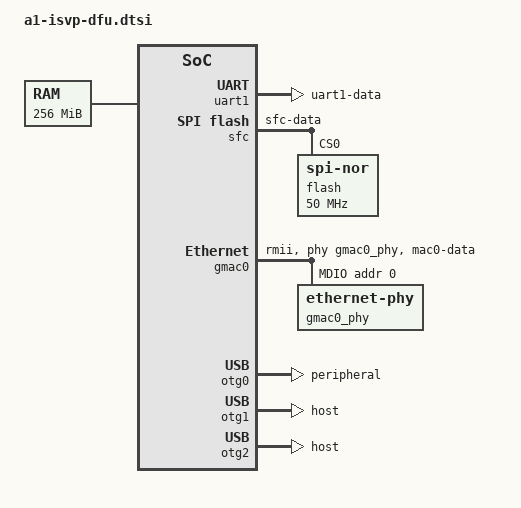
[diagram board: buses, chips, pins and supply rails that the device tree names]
// SPDX-License-Identifier: GPL-2.0+
/*
 * Ingenic ISVP-A1 USB-boot DFU-loader board body, shared by every A1
 * SKU. Identical to a1-isvp.dtsi except OTG0 is dr_mode = "peripheral"
 * so the dwc2_udc_otg gadget binds to it (dwc2_udc_otg_bind rejects
 * "host"). OTG0 is the mask-ROM USB-boot port, so the DFU gadget comes
 * up on the same connector the loader is USB-booted over. The leaf
 * .dts sets the per-SKU compatible on &ddr.
 */

#include <dt-bindings/clock/ingenic,a1-cgu.h>

/ {
	compatible = "ingenic,a1";
	#address-cells = <1>;
	#size-cells = <1>;

	aliases {
		serial1 = &uart1;
	};

	chosen {
		stdout-path = "serial1:115200n8";
	};

	memory@0 {
		device_type = "memory";
		reg = <0x0 0x10000000>;
	};

	ddr: memory-controller@b34f0000 {
		reg = <0xb34f0000 0x3000>;
		/* compatible is set by the per-SKU leaf .dts. */
		bootph-all;
	};

	cgu: clock-controller@b0000000 {
		compatible = "ingenic,a1-cgu";
		reg = <0xb0000000 0x1000>;
		#clock-cells = <1>;
		bootph-all;
	};

	pinctrl: pinctrl@b0010000 {
		compatible = "ingenic,a1-pinctrl";
		reg = <0xb0010000 0x8000>;
		#address-cells = <1>;
		#size-cells = <0>;
		bootph-all;

		gpa: gpio@0 {
			compatible = "ingenic,a1-gpio";
			reg = <0>;
			gpio-controller;
			#gpio-cells = <2>;
			bootph-all;
		};

		gpb: gpio@1 {
			compatible = "ingenic,a1-gpio";
			reg = <1>;
			gpio-controller;
			#gpio-cells = <2>;
			bootph-all;
		};

		gpc: gpio@2 {
			compatible = "ingenic,a1-gpio";
			reg = <2>;
			gpio-controller;
			#gpio-cells = <2>;
			bootph-all;
		};

		gpd: gpio@3 {
			compatible = "ingenic,a1-gpio";
			reg = <3>;
			gpio-controller;
			#gpio-cells = <2>;
			bootph-all;
		};

		gpe: gpio@4 {
			compatible = "ingenic,a1-gpio";
			reg = <4>;
			gpio-controller;
			#gpio-cells = <2>;
			bootph-all;
		};

		pins_uart1: uart1 {
			function = "uart1";
			groups = "uart1-data";
			bootph-all;
		};

		pins_sfc: sfc {
			function = "sfc";
			groups = "sfc-data";
		};

		pins_mac0: mac0 {
			function = "mac0";
			groups = "mac0-data";
		};
	};

	uart1: serial@b0031000 {
		compatible = "ingenic,jz4780-uart", "ns16550a";
		reg = <0xb0031000 0x100>;
		reg-shift = <2>;
		clock-frequency = <24000000>;
		pinctrl-names = "default";
		pinctrl-0 = <&pins_uart1>;
		status = "okay";
		bootph-all;
	};

	sfc: spi@b3440000 {
		compatible = "ingenic,a1-sfc";
		reg = <0xb3440000 0x10000>;
		#address-cells = <1>;
		#size-cells = <0>;
		clocks = <&cgu A1_CLK_SFC>;
		pinctrl-names = "default";
		pinctrl-0 = <&pins_sfc>;
		spi-max-frequency = <50000000>;
		status = "okay";

		flash@0 {
			compatible = "jedec,spi-nor";
			reg = <0>;
			spi-max-frequency = <50000000>;
		};
	};

	gmac0: ethernet@b30b0000 {
		compatible = "ingenic,a1-gmac";
		reg = <0xb30b0000 0x10000>;
		clocks = <&cgu A1_CLK_GMAC0>;
		phy-mode = "rmii";
		phy-handle = <&gmac0_phy>;
		ingenic,mode-reg = <0xb00000c8>;
		max-speed = <100>;
		pinctrl-names = "default";
		pinctrl-0 = <&pins_mac0>;
		status = "okay";

		mdio {
			#address-cells = <1>;
			#size-cells = <0>;

			gmac0_phy: ethernet-phy@0 {
				reg = <0>;
			};
		};
	};

	otg0: usb@b3600000 {
		compatible = "snps,dwc2";
		reg = <0xb3600000 0x40000>;
		clocks = <&cgu A1_CLK_OTG0>;
		dr_mode = "peripheral";		/* gadget bind for DFU/g_dnl */
		status = "okay";
	};

	otg1: usb@b3640000 {
		compatible = "snps,dwc2";
		reg = <0xb3640000 0x40000>;
		clocks = <&cgu A1_CLK_OTG1>;
		dr_mode = "host";
		status = "okay";
	};

	otg2: usb@b3680000 {
		compatible = "snps,dwc2";
		reg = <0xb3680000 0x40000>;
		clocks = <&cgu A1_CLK_OTG2>;
		dr_mode = "host";
		status = "okay";
	};
};
